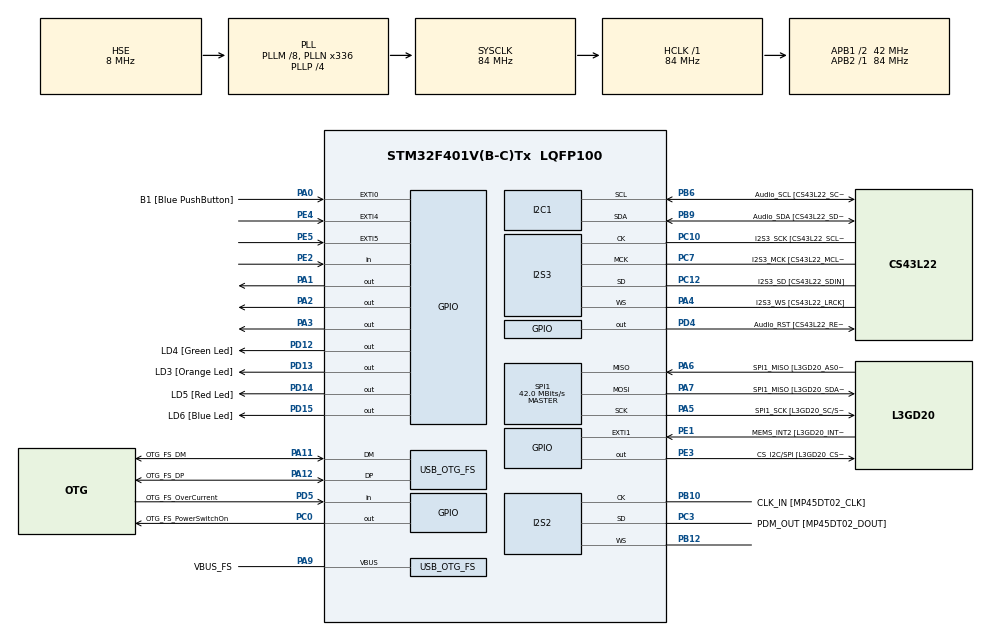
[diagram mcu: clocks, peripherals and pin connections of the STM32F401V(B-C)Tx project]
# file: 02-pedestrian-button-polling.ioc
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I2S2.ErrorAudioFreq=0.0 %
I2S2.FullDuplexMode=I2S_FULLDUPLEXMODE_DISABLE
I2S2.Instance=SPI$Index
I2S2.RealAudioFreq=8.0 KHz
I2S2.VirtualMode=I2S_MODE_MASTER
I2S3.AudioFreq=I2S_AUDIOFREQ_96K
I2S3.ErrorAudioFreq=-2.34 %
I2S3.FullDuplexMode=I2S_FULLDUPLEXMODE_DISABLE
I2S3.Instance=SPI$Index
I2S3.RealAudioFreq=93.75 KHz
I2S3.VirtualMode=I2S_MODE_MASTER
Mcu.Family=STM32F4
Mcu.Name=STM32F401V(B-C)Tx
Mcu.Package=LQFP100
NVIC.OTG_FS_IRQn=true\:0\:0\:false\:false\:true\:true\:true\:true
NVIC.PriorityGroup=NVIC_PRIORITYGROUP_0
PA0-WKUP.GPIO_Label=B1 [Blue PushButton]
PA0-WKUP.GPIO_ModeDefaultEXTI=GPIO_MODE_EVT_RISING
PA0-WKUP.Signal=GPXTI0
PA1.Signal=GPIO_Output
PA10.GPIO_Label=OTG_FS_ID
PA10.Signal=USB_OTG_FS_ID
PA11.GPIO_Label=OTG_FS_DM
PA11.Mode=Host_Only
PA11.Signal=USB_OTG_FS_DM
PA12.GPIO_Label=OTG_FS_DP
PA12.Mode=Host_Only
PA12.Signal=USB_OTG_FS_DP
PA13.GPIO_Label=SWDIO
PA13.Mode=Serial_Wire
PA13.Signal=SYS_JTMS-SWDIO
PA14.GPIO_Label=SWCLK
PA14.Mode=Serial_Wire
PA14.Signal=SYS_JTCK-SWCLK
PA2.Signal=GPIO_Output
PA3.Signal=GPIO_Output
PA4.GPIO_Label=I2S3_WS [CS43L22_LRCK]
PA4.GPIO_Mode=GPIO_MODE_AF_PP
PA4.GPIO_PuPd=GPIO_NOPULL
PA4.GPIO_Speed=GPIO_SPEED_FREQ_LOW
PA4.Mode=Half_Duplex_Master
PA4.Signal=I2S3_WS
PA5.GPIO_Label=SPI1_SCK [L3GD20_SC/SPC]
PA5.Mode=Full_Duplex_Master
PA5.Signal=SPI1_SCK
PA6.GPIO_Label=SPI1_MISO [L3GD20_AS0/SDO]
PA6.Mode=Full_Duplex_Master
PA6.Signal=SPI1_MISO
PA7.GPIO_Label=SPI1_MISO [L3GD20_SDA/SDI/SDO]
PA7.Mode=Full_Duplex_Master
PA7.Signal=SPI1_MOSI
PA9.GPIO_Label=VBUS_FS
PA9.Mode=Activate_VBUS
PA9.Signal=USB_OTG_FS_VBUS
PB10.GPIO_Label=CLK_IN [MP45DT02_CLK]
PB10.Mode=Half_Duplex_Master
PB10.Signal=I2S2_CK
PB12.Mode=Half_Duplex_Master
PB12.Signal=I2S2_WS
PB3.GPIO_Label=SWO
PB3.Signal=SYS_JTDO-SWO
PB6.GPIO_Label=Audio_SCL [CS43L22_SCL]
PB6.GPIO_Mode=GPIO_MODE_AF_OD
PB6.GPIO_Pu=GPIO_PULLUP
PB6.GPIO_PuPd=GPIO_NOPULL
PB6.GPIO_Speed=GPIO_SPEED_FREQ_LOW
PB6.Mode=I2C
PB6.Signal=I2C1_SCL
PB9.GPIO_Label=Audio_SDA [CS43L22_SDA]
PB9.GPIO_Mode=GPIO_MODE_AF_OD
PB9.GPIO_Pu=GPIO_PULLUP
PB9.GPIO_PuPd=GPIO_NOPULL
PB9.GPIO_Speed=GPIO_SPEED_FREQ_LOW
PB9.Mode=I2C
PB9.Signal=I2C1_SDA
PC0.GPIO_Label=OTG_FS_PowerSwitchOn
PC0.PinState=GPIO_PIN_SET
PC0.Signal=GPIO_Output
PC10.GPIO_Label=I2S3_SCK [CS43L22_SCLK]
PC10.GPIO_Mode=GPIO_MODE_AF_PP
PC10.GPIO_PuPd=GPIO_NOPULL
PC10.GPIO_Speed=GPIO_SPEED_FREQ_LOW
PC10.Mode=Half_Duplex_Master
PC10.Signal=I2S3_CK
PC12.GPIO_Label=I2S3_SD [CS43L22_SDIN]
PC12.GPIO_Mode=GPIO_MODE_AF_PP
PC12.GPIO_PuPd=GPIO_NOPULL
PC12.GPIO_Speed=GPIO_SPEED_FREQ_LOW
PC12.Mode=Half_Duplex_Master
PC12.Signal=I2S3_SD
PC14-OSC32_IN.GPIO_Label=PC14-OSC32_IN
PC14-OSC32_IN.Mode=LSE-External-Oscillator
PC14-OSC32_IN.Signal=RCC_OSC32_IN
PC15-OSC32_OUT.GPIO_Label=PC15-OSC32_OUT
PC15-OSC32_OUT.Mode=LSE-External-Oscillator
PC15-OSC32_OUT.Signal=RCC_OSC32_OUT
PC3.GPIO_Label=PDM_OUT [MP45DT02_DOUT]
PC3.Mode=Half_Duplex_Master
PC3.Signal=I2S2_SD
PC7.GPIO_Label=I2S3_MCK [CS43L22_MCLK]
PC7.GPIO_Mode=GPIO_MODE_AF_PP
PC7.GPIO_PuPd=GPIO_NOPULL
PC7.GPIO_Speed=GPIO_SPEED_FREQ_LOW
PC7.Mode=Master_Clock_Activated
PC7.Signal=I2S3_MCK
PD12.GPIO_Label=LD4 [Green Led]
PD12.GPIO_PuPd=GPIO_NOPULL
PD12.GPIO_Speed=GPIO_SPEED_FREQ_LOW
PD12.Signal=GPIO_Output
PD13.GPIO_Label=LD3 [Orange Led]
PD13.GPIO_PuPd=GPIO_NOPULL
PD13.GPIO_Speed=GPIO_SPEED_FREQ_LOW
PD13.Signal=GPIO_Output
PD14.GPIO_Label=LD5 [Red Led]
PD14.GPIO_PuPd=GPIO_NOPULL
PD14.GPIO_Speed=GPIO_SPEED_FREQ_LOW
PD14.Signal=GPIO_Output
PD15.GPIO_Label=LD6 [Blue Led]
PD15.GPIO_PuPd=GPIO_NOPULL
PD15.GPIO_Speed=GPIO_SPEED_FREQ_LOW
PD15.Signal=GPIO_Output
PD4.GPIO_Label=Audio_RST [CS43L22_RESET]
PD4.Signal=GPIO_Output
PD5.GPIO_Label=OTG_FS_OverCurrent
PD5.Signal=GPIO_Input
PE1.GPIO_Label=MEMS_INT2 [L3GD20_INT2]
PE1.GPIO_ModeDefaultEXTI=GPIO_MODE_EVT_RISING
PE1.Signal=GPXTI1
PE2.Signal=GPIO_Input
PE3.GPIO_Label=CS_I2C/SPI [L3GD20_CS_I2C/SPI]
PE3.Signal=GPIO_Output
PE4.GPIO_ModeDefaultEXTI=GPIO_MODE_EVT_RISING
PE4.Signal=GPXTI4
PE5.GPIO_ModeDefaultEXTI=GPIO_MODE_EVT_RISING
PE5.Signal=GPXTI5
PH0\ -\ OSC_IN.GPIO_Label=PH0-OSC_IN
PH0\ -\ OSC_IN.Mode=HSE-External-Oscillator
PH0\ -\ OSC_IN.Signal=RCC_OSC_IN
PH1\ -\ OSC_OUT.GPIO_Label=PH1-OSC_OUT
PH1\ -\ OSC_OUT.Mode=HSE-External-Oscillator
PH1\ -\ OSC_OUT.Signal=RCC_OSC_OUT
ProjectManager.HeapSize=0x200
ProjectManager.StackSize=0x400
ProjectManager.TargetToolchain=STM32CubeIDE
RCC.AHBFreq_Value=84000000
RCC.APB1CLKDivider=RCC_HCLK_DIV2
RCC.APB1Freq_Value=42000000
RCC.APB1TimFreq_Value=84000000
RCC.APB2Freq_Value=84000000
RCC.APB2TimFreq_Value=84000000
RCC.CortexFreq_Value=84000000
RCC.HCLKFreq_Value=84000000
RCC.HSE_VALUE=8000000
RCC.HSI_VALUE=16000000
RCC.PLLM=8
RCC.PLLN=336
RCC.PLLP=RCC_PLLP_DIV4
RCC.PLLQ=7
RCC.SYSCLKFreq_VALUE=84000000
RCC.SYSCLKSource=RCC_SYSCLKSOURCE_PLLCLK
RCC.VCOOutputFreq_Value=336000000
SPI1.CalculateBaudRate=42.0 MBits/s
SPI1.Direction=SPI_DIRECTION_2LINES
SPI1.Mode=SPI_MODE_MASTER
SPI1.VirtualType=VM_MASTER
USB_HOST.BSP.number=1
USB_HOST.USBH_HandleTypeDef=hUsbHostFS
USB_HOST.VirtualModeFS=Cdc
USB_HOST0.BSP.STBoard=false
USB_HOST0.BSP.api=Unknown
USB_HOST0.BSP.instance=PC0
USB_HOST0.BSP.ip=GPIO
USB_HOST0.BSP.mode=Output
USB_HOST0.BSP.name=Drive_VBUS_FS
USB_HOST0.BSP.solution=PC0
USB_OTG_FS.VirtualMode=Host_Only
USB_OTG_FS.phy_itface=HCD_PHY_EMBEDDED
VP_USB_HOST_VS_USB_HOST_CDC_FS.Mode=CDC_FS
board=STM32F401C-DISCO

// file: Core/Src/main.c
/* USER CODE BEGIN Header */
/**
  ******************************************************************************
  * @file           : main.c
  * @brief          : Main program body
  ******************************************************************************
  * @attention
  *
  * Copyright (c) 2026 STMicroelectronics.
  * All rights reserved.
  *
  * This software is licensed under terms that can be found in the LICENSE file
  * in the root directory of this software component.
  * If no LICENSE file comes with this software, it is provided AS-IS.
  *
  ******************************************************************************
  */
/* USER CODE END Header */
#include "main.h"
#include "usb_host.h"

I2C_HandleTypeDef hi2c1;

I2S_HandleTypeDef hi2s2;
I2S_HandleTypeDef hi2s3;

SPI_HandleTypeDef hspi1;

/* USER CODE BEGIN PV */
typedef enum
{
  TRAFFIC_RED,
  TRAFFIC_YELLOW,
  TRAFFIC_GREEN
} TrafficState;
static TrafficState traffic_state = TRAFFIC_RED;
static uint32_t state_started_ms = 0;

/* USER CODE END PV */

void SystemClock_Config(void);
void PeriphCommonClock_Config(void);
static void MX_GPIO_Init(void);
static void MX_I2C1_Init(void);
static void MX_I2S2_Init(void);
static void MX_I2S3_Init(void);
static void MX_SPI1_Init(void);
void MX_USB_HOST_Process(void);

int main(void)
{

  /* MCU Configuration--------------------------------------------------------*/

  /* Reset of all peripherals, Initializes the Flash interface and the Systick. */
  HAL_Init();

  /* Configure the system clock */
  SystemClock_Config();

  /* Configure the peripherals common clocks */
  PeriphCommonClock_Config();

  /* Initialize all configured peripherals */
  MX_GPIO_Init();
  MX_I2C1_Init();
  MX_I2S2_Init();
  MX_I2S3_Init();
  MX_SPI1_Init();
  MX_USB_HOST_Init();
  /* USER CODE BEGIN 2 */
  state_started_ms = HAL_GetTick();

  HAL_GPIO_WritePin(GPIOA, GPIO_PIN_1, GPIO_PIN_SET);
  HAL_GPIO_WritePin(GPIOA, GPIO_PIN_2, GPIO_PIN_RESET);
  HAL_GPIO_WritePin(GPIOA, GPIO_PIN_3, GPIO_PIN_RESET);

  /* USER CODE END 2 */

  /* Infinite loop */
  while (1)
  {
    MX_USB_HOST_Process();

    /* USER CODE BEGIN 3 */
    uint32_t now = HAL_GetTick();
    if (traffic_state == TRAFFIC_RED) {
      HAL_GPIO_WritePin(GPIOA, GPIO_PIN_1, GPIO_PIN_SET);
      HAL_GPIO_WritePin(GPIOA, GPIO_PIN_2, GPIO_PIN_RESET);
      HAL_GPIO_WritePin(GPIOA, GPIO_PIN_3, GPIO_PIN_RESET);

      if ((now - state_started_ms) >= 3000U) {
        traffic_state = TRAFFIC_YELLOW;
        state_started_ms = now;
      }
    } else if (traffic_state == TRAFFIC_YELLOW) {
      HAL_GPIO_WritePin(GPIOA, GPIO_PIN_1, GPIO_PIN_RESET);
      HAL_GPIO_WritePin(GPIOA, GPIO_PIN_2, GPIO_PIN_SET);
      HAL_GPIO_WritePin(GPIOA, GPIO_PIN_3, GPIO_PIN_RESET);

      if ((now - state_started_ms) >= 1000U) {
        traffic_state = TRAFFIC_GREEN;
        state_started_ms = now;
      }
    } else if (traffic_state == TRAFFIC_GREEN) {
      HAL_GPIO_WritePin(GPIOA, GPIO_PIN_1, GPIO_PIN_RESET);
      HAL_GPIO_WritePin(GPIOA, GPIO_PIN_2, GPIO_PIN_RESET);
      HAL_GPIO_WritePin(GPIOA, GPIO_PIN_3, GPIO_PIN_SET);

      if ((now - state_started_ms) >= 3000U) {
        traffic_state = TRAFFIC_RED;
        state_started_ms = now;
      }
    }
  }
  /* USER CODE END 3 */
}

void SystemClock_Config(void)
{
  RCC_OscInitTypeDef RCC_OscInitStruct = {0};
  RCC_ClkInitTypeDef RCC_ClkInitStruct = {0};

  /** Configure the main internal regulator output voltage
  */
  __HAL_RCC_PWR_CLK_ENABLE();
  __HAL_PWR_VOLTAGESCALING_CONFIG(PWR_REGULATOR_VOLTAGE_SCALE2);

  /** Initializes the RCC Oscillators according to the specified parameters
  * in the RCC_OscInitTypeDef structure.
  */
  RCC_OscInitStruct.OscillatorType = RCC_OSCILLATORTYPE_HSE;
  RCC_OscInitStruct.HSEState = RCC_HSE_ON;
  RCC_OscInitStruct.PLL.PLLState = RCC_PLL_ON;
  RCC_OscInitStruct.PLL.PLLSource = RCC_PLLSOURCE_HSE;
  RCC_OscInitStruct.PLL.PLLM = 8;
  RCC_OscInitStruct.PLL.PLLN = 336;
  RCC_OscInitStruct.PLL.PLLP = RCC_PLLP_DIV4;
  RCC_OscInitStruct.PLL.PLLQ = 7;
  if (HAL_RCC_OscConfig(&RCC_OscInitStruct) != HAL_OK)
  {
    Error_Handler();
  }

  /** Initializes the CPU, AHB and APB buses clocks
  */
  RCC_ClkInitStruct.ClockType = RCC_CLOCKTYPE_HCLK|RCC_CLOCKTYPE_SYSCLK
                              |RCC_CLOCKTYPE_PCLK1|RCC_CLOCKTYPE_PCLK2;
  RCC_ClkInitStruct.SYSCLKSource = RCC_SYSCLKSOURCE_PLLCLK;
  RCC_ClkInitStruct.AHBCLKDivider = RCC_SYSCLK_DIV1;
  RCC_ClkInitStruct.APB1CLKDivider = RCC_HCLK_DIV2;
  RCC_ClkInitStruct.APB2CLKDivider = RCC_HCLK_DIV1;

  if (HAL_RCC_ClockConfig(&RCC_ClkInitStruct, FLASH_LATENCY_2) != HAL_OK)
  {
    Error_Handler();
  }
}

void PeriphCommonClock_Config(void)
{
  RCC_PeriphCLKInitTypeDef PeriphClkInitStruct = {0};

  /** Initializes the peripherals clock
  */
  PeriphClkInitStruct.PeriphClockSelection = RCC_PERIPHCLK_I2S;
  PeriphClkInitStruct.PLLI2S.PLLI2SN = 192;
  PeriphClkInitStruct.PLLI2S.PLLI2SR = 2;
  if (HAL_RCCEx_PeriphCLKConfig(&PeriphClkInitStruct) != HAL_OK)
  {
    Error_Handler();
  }
}

static void MX_I2C1_Init(void)
{

  hi2c1.Instance = I2C1;
  hi2c1.Init.ClockSpeed = 100000;
  hi2c1.Init.DutyCycle = I2C_DUTYCYCLE_2;
  hi2c1.Init.OwnAddress1 = 0;
  hi2c1.Init.AddressingMode = I2C_ADDRESSINGMODE_7BIT;
  hi2c1.Init.DualAddressMode = I2C_DUALADDRESS_DISABLE;
  hi2c1.Init.OwnAddress2 = 0;
  hi2c1.Init.GeneralCallMode = I2C_GENERALCALL_DISABLE;
  hi2c1.Init.NoStretchMode = I2C_NOSTRETCH_DISABLE;
  if (HAL_I2C_Init(&hi2c1) != HAL_OK)
  {
    Error_Handler();
  }

}

static void MX_I2S2_Init(void)
{

  hi2s2.Instance = SPI2;
  hi2s2.Init.Mode = I2S_MODE_MASTER_TX;
  hi2s2.Init.Standard = I2S_STANDARD_PHILIPS;
  hi2s2.Init.DataFormat = I2S_DATAFORMAT_16B;
  hi2s2.Init.MCLKOutput = I2S_MCLKOUTPUT_DISABLE;
  hi2s2.Init.AudioFreq = I2S_AUDIOFREQ_8K;
  hi2s2.Init.CPOL = I2S_CPOL_LOW;
  hi2s2.Init.ClockSource = I2S_CLOCK_PLL;
  hi2s2.Init.FullDuplexMode = I2S_FULLDUPLEXMODE_DISABLE;
  if (HAL_I2S_Init(&hi2s2) != HAL_OK)
  {
    Error_Handler();
  }

}

static void MX_I2S3_Init(void)
{

  hi2s3.Instance = SPI3;
  hi2s3.Init.Mode = I2S_MODE_MASTER_TX;
  hi2s3.Init.Standard = I2S_STANDARD_PHILIPS;
  hi2s3.Init.DataFormat = I2S_DATAFORMAT_16B;
  hi2s3.Init.MCLKOutput = I2S_MCLKOUTPUT_ENABLE;
  hi2s3.Init.AudioFreq = I2S_AUDIOFREQ_96K;
  hi2s3.Init.CPOL = I2S_CPOL_LOW;
  hi2s3.Init.ClockSource = I2S_CLOCK_PLL;
  hi2s3.Init.FullDuplexMode = I2S_FULLDUPLEXMODE_DISABLE;
  if (HAL_I2S_Init(&hi2s3) != HAL_OK)
  {
    Error_Handler();
  }

}

static void MX_SPI1_Init(void)
{

  /* SPI1 parameter configuration*/
  hspi1.Instance = SPI1;
  hspi1.Init.Mode = SPI_MODE_MASTER;
  hspi1.Init.Direction = SPI_DIRECTION_2LINES;
  hspi1.Init.DataSize = SPI_DATASIZE_8BIT;
  hspi1.Init.CLKPolarity = SPI_POLARITY_LOW;
  hspi1.Init.CLKPhase = SPI_PHASE_1EDGE;
  hspi1.Init.NSS = SPI_NSS_SOFT;
  hspi1.Init.BaudRatePrescaler = SPI_BAUDRATEPRESCALER_2;
  hspi1.Init.FirstBit = SPI_FIRSTBIT_MSB;
  hspi1.Init.TIMode = SPI_TIMODE_DISABLE;
  hspi1.Init.CRCCalculation = SPI_CRCCALCULATION_DISABLE;
  hspi1.Init.CRCPolynomial = 10;
  if (HAL_SPI_Init(&hspi1) != HAL_OK)
  {
    Error_Handler();
  }

}

static void MX_GPIO_Init(void)
{
  GPIO_InitTypeDef GPIO_InitStruct = {0};

  /* GPIO Ports Clock Enable */
  __HAL_RCC_GPIOE_CLK_ENABLE();
  __HAL_RCC_GPIOC_CLK_ENABLE();
  __HAL_RCC_GPIOH_CLK_ENABLE();
  __HAL_RCC_GPIOA_CLK_ENABLE();
  __HAL_RCC_GPIOB_CLK_ENABLE();
  __HAL_RCC_GPIOD_CLK_ENABLE();

  /*Configure GPIO pin Output Level */
  HAL_GPIO_WritePin(CS_I2C_SPI_GPIO_Port, CS_I2C_SPI_Pin, GPIO_PIN_RESET);

  /*Configure GPIO pin Output Level */
  HAL_GPIO_WritePin(OTG_FS_PowerSwitchOn_GPIO_Port, OTG_FS_PowerSwitchOn_Pin, GPIO_PIN_SET);

  /*Configure GPIO pin Output Level */
  HAL_GPIO_WritePin(GPIOA, GPIO_PIN_1|GPIO_PIN_2|GPIO_PIN_3, GPIO_PIN_RESET);

  /*Configure GPIO pin Output Level */
  HAL_GPIO_WritePin(GPIOD, LD4_Pin|LD3_Pin|LD5_Pin|LD6_Pin
                          |Audio_RST_Pin, GPIO_PIN_RESET);

  /*Configure GPIO pin : PE2 */
  GPIO_InitStruct.Pin = GPIO_PIN_2;
  GPIO_InitStruct.Mode = GPIO_MODE_INPUT;
  GPIO_InitStruct.Pull = GPIO_NOPULL;
  HAL_GPIO_Init(GPIOE, &GPIO_InitStruct);

  /*Configure GPIO pin : CS_I2C_SPI_Pin */
  GPIO_InitStruct.Pin = CS_I2C_SPI_Pin;
  GPIO_InitStruct.Mode = GPIO_MODE_OUTPUT_PP;
  GPIO_InitStruct.Pull = GPIO_NOPULL;
  GPIO_InitStruct.Speed = GPIO_SPEED_FREQ_LOW;
  HAL_GPIO_Init(CS_I2C_SPI_GPIO_Port, &GPIO_InitStruct);

  /*Configure GPIO pins : PE4 PE5 MEMS_INT2_Pin */
  GPIO_InitStruct.Pin = GPIO_PIN_4|GPIO_PIN_5|MEMS_INT2_Pin;
  GPIO_InitStruct.Mode = GPIO_MODE_EVT_RISING;
  GPIO_InitStruct.Pull = GPIO_NOPULL;
  HAL_GPIO_Init(GPIOE, &GPIO_InitStruct);

  /*Configure GPIO pin : OTG_FS_PowerSwitchOn_Pin */
  GPIO_InitStruct.Pin = OTG_FS_PowerSwitchOn_Pin;
  GPIO_InitStruct.Mode = GPIO_MODE_OUTPUT_PP;
  GPIO_InitStruct.Pull = GPIO_NOPULL;
  GPIO_InitStruct.Speed = GPIO_SPEED_FREQ_LOW;
  HAL_GPIO_Init(OTG_FS_PowerSwitchOn_GPIO_Port, &GPIO_InitStruct);

  /*Configure GPIO pin : B1_Pin */
  GPIO_InitStruct.Pin = B1_Pin;
  GPIO_InitStruct.Mode = GPIO_MODE_EVT_RISING;
  GPIO_InitStruct.Pull = GPIO_NOPULL;
  HAL_GPIO_Init(B1_GPIO_Port, &GPIO_InitStruct);

  /*Configure GPIO pins : PA1 PA2 PA3 */
  GPIO_InitStruct.Pin = GPIO_PIN_1|GPIO_PIN_2|GPIO_PIN_3;
  GPIO_InitStruct.Mode = GPIO_MODE_OUTPUT_PP;
  GPIO_InitStruct.Pull = GPIO_NOPULL;
  GPIO_InitStruct.Speed = GPIO_SPEED_FREQ_LOW;
  HAL_GPIO_Init(GPIOA, &GPIO_InitStruct);

  /*Configure GPIO pins : LD4_Pin LD3_Pin LD5_Pin LD6_Pin
                           Audio_RST_Pin */
  GPIO_InitStruct.Pin = LD4_Pin|LD3_Pin|LD5_Pin|LD6_Pin
                          |Audio_RST_Pin;
  GPIO_InitStruct.Mode = GPIO_MODE_OUTPUT_PP;
  GPIO_InitStruct.Pull = GPIO_NOPULL;
  GPIO_InitStruct.Speed = GPIO_SPEED_FREQ_LOW;
  HAL_GPIO_Init(GPIOD, &GPIO_InitStruct);

  /*Configure GPIO pin : OTG_FS_OverCurrent_Pin */
  GPIO_InitStruct.Pin = OTG_FS_OverCurrent_Pin;
  GPIO_InitStruct.Mode = GPIO_MODE_INPUT;
  GPIO_InitStruct.Pull = GPIO_NOPULL;
  HAL_GPIO_Init(OTG_FS_OverCurrent_GPIO_Port, &GPIO_InitStruct);

}

void Error_Handler(void)
{
  __disable_irq();
  while (1)
  {
  }
}
